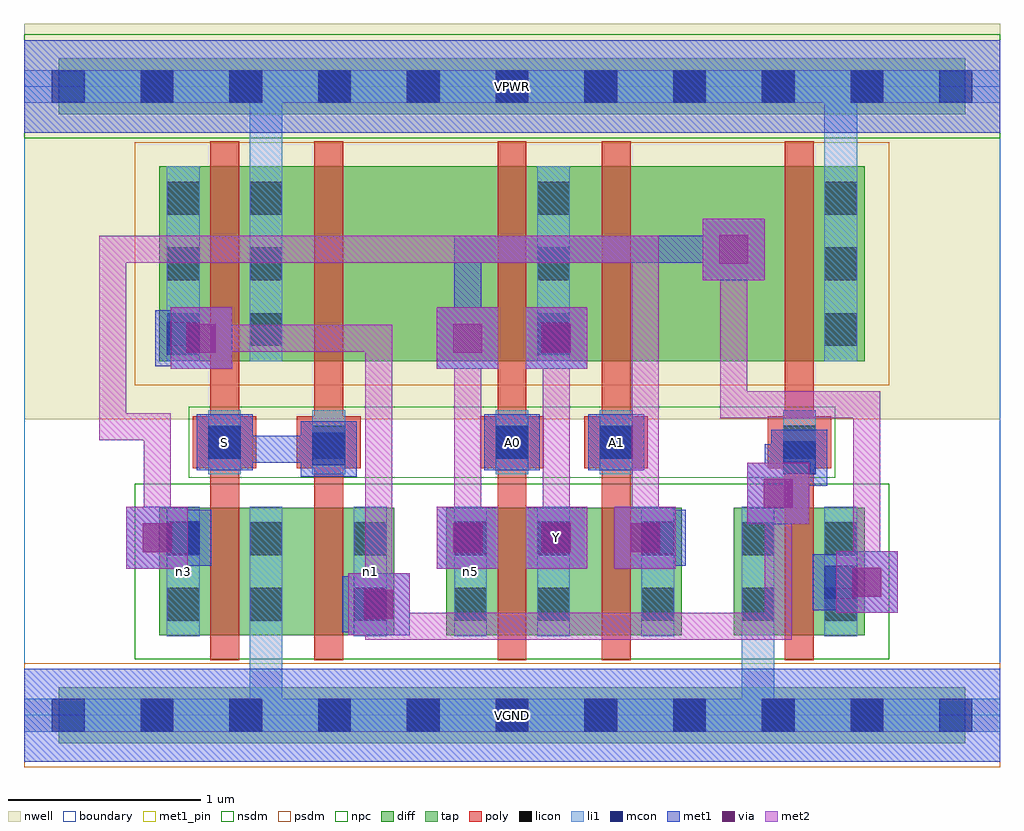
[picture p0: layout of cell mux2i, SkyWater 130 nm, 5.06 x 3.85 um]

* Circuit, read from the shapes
.subckt mux2i A0 A1 S VGND VPWR Y n1 n3 n5
XM1 VGND S n3 VGND sky130_fd_pr__nfet_01v8 w=0.66 l=0.15
XM2 n1 S VGND VGND sky130_fd_pr__nfet_01v8 w=0.66 l=0.15
XM3 Y A0 n5 VGND sky130_fd_pr__nfet_01v8 w=0.66 l=0.15
XM4 n3 A1 Y VGND sky130_fd_pr__nfet_01v8 w=0.66 l=0.15
XM5 n5 n1 VGND VGND sky130_fd_pr__nfet_01v8 w=0.66 l=0.15
XM6 VPWR S n1 VPWR sky130_fd_pr__pfet_01v8 w=1.01 l=0.15
XM7 n2 S VPWR VPWR sky130_fd_pr__pfet_01v8 w=1.01 l=0.15
XM8 Y A0 n2 VPWR sky130_fd_pr__pfet_01v8 w=1.01 l=0.15
XM9 n4 A1 Y VPWR sky130_fd_pr__pfet_01v8 w=1.01 l=0.15
XM10 VPWR n1 n4 VPWR sky130_fd_pr__pfet_01v8 w=1.01 l=0.15
.ends

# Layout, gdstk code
import gdstk
lib = gdstk.Library(unit=1e-6, precision=1e-09)
def R(c, l, rs):  # rectangles x0, y0, x1, y1
    for r in rs: c.add(gdstk.rectangle(r[:2], r[2:], *l))
def A(c, l, x, y, w, h, nx, ny, dx, dy):  # array of equal rectangles
    R(c, l, [(x+i*dx, y+j*dy, x+i*dx+w, y+j*dy+h) for i in range(nx) for j in range(ny)])
nwell = (64, 20)
diff = (65, 20)
tap = (65, 44)
poly = (66, 20)
licon = (66, 44)
li1 = (67, 20)
mcon = (67, 44)
met1_pin = (68, 16)
met1 = (68, 20)
via = (68, 44)
met2 = (69, 20)
nsdm = (93, 44)
psdm = (94, 20)
npc = (95, 20)
boundary = (235, 4)

mux2i = lib.new_cell('mux2i')
R(mux2i, nwell, [(0,1.535,5.06,3.585)])
R(mux2i, diff, [(0.7,0.415,1.92,1.075), (2.19,0.415,3.41,1.075), (3.68,0.415,4.36,1.075), (0.7,1.835,4.36,2.845)])
R(mux2i, tap, [(0.18,-0.145,4.88,0.145), (0.18,3.115,4.88,3.405)])
R(mux2i, poly, [(0.965,0.285,1.115,2.975), (1.505,0.285,1.655,2.975), (2.455,0.285,2.605,2.975), (2.995,0.285,3.145,2.975), (3.945,0.285,4.095,2.975), (0.875,1.28,1.205,1.55), (1.415,1.28,1.745,1.55), (2.365,1.28,2.695,1.55), (2.905,1.28,3.235,1.55), (3.855,1.28,4.185,1.55)])
A(mux2i, licon, 0.605, -0.085, 0.17, 0.17, 9, 2, 0.46, 3.26)
A(mux2i, licon, 0.74, 1.915, 0.17, 0.17, 1, 3, 0, 0.34)
A(mux2i, licon, 1.17, 1.915, 0.17, 0.17, 3, 3, 1.49, 0.34)
R(mux2i, licon, [(0.74,0.49,0.91,0.66), (1.17,0.49,1.34,0.66), (1.71,0.49,1.88,0.66), (2.23,0.49,2.4,0.66), (2.66,0.49,2.83,0.66), (3.2,0.49,3.37,0.66), (3.72,0.49,3.89,0.66), (4.15,0.49,4.32,0.66), (0.74,0.83,0.91,1), (1.17,0.83,1.34,1), (1.71,0.83,1.88,1), (2.23,0.83,2.4,1), (2.66,0.83,2.83,1), (3.2,0.83,3.37,1), (3.72,0.83,3.89,1), (4.15,0.83,4.32,1), (0.955,1.33,1.125,1.5), (1.495,1.33,1.665,1.5), (2.445,1.33,2.615,1.5), (2.985,1.33,3.155,1.5), (3.935,1.33,4.105,1.5)])
A(mux2i, li1, 1.17, 1.835, 0.17, 1.01, 3, 1, 1.49, 0)
R(mux2i, li1, [(0,-0.085,5.06,0.085), (1.17,-0.085,1.34,1.08), (3.72,-0.085,3.89,1.08), (0.74,0.41,0.91,1.08), (1.17,0.41,1.34,1.08), (1.71,0.41,1.88,1.08), (2.23,0.41,2.4,1.08), (2.66,0.41,2.83,1.08), (3.2,0.41,3.37,1.08), (3.72,0.41,3.89,1.08), (4.15,0.41,4.32,1.08), (0.955,1.25,1.125,1.58), (1.495,1.25,1.665,1.58), (2.445,1.25,2.615,1.58), (2.985,1.25,3.155,1.58), (3.935,1.25,4.105,1.58), (0.74,1.835,0.91,2.845), (1.17,1.835,1.34,3.345), (4.15,1.835,4.32,3.345), (0,3.175,5.06,3.345)])
A(mux2i, mcon, 0.145, -0.085, 0.17, 0.17, 11, 2, 0.46, 3.26)
R(mux2i, mcon, [(1.71,0.49,1.88,0.66), (4.15,0.605,4.32,0.775), (0.74,0.835,0.91,1.005), (2.23,0.835,2.4,1.005), (2.66,0.835,2.83,1.005), (3.2,0.835,3.37,1.005), (3.935,1.25,4.105,1.42), (1.495,1.295,1.665,1.465), (0.955,1.33,1.125,1.5), (2.445,1.33,2.615,1.5), (2.985,1.33,3.155,1.5), (0.74,1.87,0.91,2.04), (2.66,1.87,2.83,2.04)])
R(mux2i, met1_pin, [(0,-0.24,5.06,0.24), (2.6,0.76,2.92,1.08), (0.895,1.27,1.185,1.56), (2.385,1.27,2.675,1.56), (2.925,1.27,3.215,1.56), (0,3.02,5.06,3.5)])
A(mux2i, met1, 2.14, 0.76, 0.32, 0.32, 3, 1, 0.46, 0)
R(mux2i, met1, [(0,-0.24,5.06,0.24), (1.68,0.415,2,0.735), (1.65,0.43,1.94,0.72), (1.725,0.505,1.91,0.645), (4.21,0.53,4.53,0.85), (4.09,0.545,4.38,0.835), (4.165,0.62,4.44,0.76), (0.53,0.76,0.85,1.08), (0.68,0.775,0.97,1.065), (2.17,0.775,2.46,1.065), (2.6,0.775,2.89,1.065), (3.14,0.775,3.43,1.065), (0.62,0.85,0.895,0.99), (2.23,0.85,2.385,0.99), (2.675,0.85,2.83,0.99), (3.15,0.85,3.355,0.99), (3.75,0.99,4.07,1.31), (3.84,1.08,3.98,1.405), (3.875,1.19,4.165,1.48), (1.435,1.235,1.725,1.525), (3.84,1.265,4.09,1.405), (0.895,1.27,1.185,1.56), (2.385,1.27,2.675,1.56), (2.925,1.27,3.215,1.56), (0.965,1.31,1.105,1.45), (0.965,1.31,1.45,1.45), (1.31,1.31,1.65,1.45), (0.76,1.795,1.08,2.115), (2.14,1.795,2.46,2.115), (2.6,1.795,2.92,2.115), (0.68,1.81,0.97,2.1), (2.6,1.81,2.89,2.1), (0.755,1.885,0.99,2.025), (2.23,1.885,2.37,2.485), (2.675,1.885,2.83,2.025), (3.52,2.255,3.84,2.575), (2.23,2.345,3.75,2.485), (0,3.02,5.06,3.5)])
A(mux2i, via, 2.225, 0.845, 0.15, 0.15, 3, 1, 0.46, 0)
R(mux2i, via, [(1.765,0.5,1.915,0.65), (4.295,0.615,4.445,0.765), (0.615,0.845,0.765,0.995), (3.835,1.075,3.985,1.225), (0.845,1.88,0.995,2.03), (2.225,1.88,2.375,2.03), (2.685,1.88,2.835,2.03), (3.605,2.34,3.755,2.49)])
A(mux2i, met2, 2.14, 0.76, 0.32, 0.32, 3, 1, 0.46, 0)
R(mux2i, met2, [(1.77,0.39,3.98,0.53), (1.77,0.39,1.91,0.645), (3.84,0.39,3.98,1.22), (1.68,0.415,2,0.735), (1.77,0.505,1.91,2.025), (4.21,0.53,4.53,0.85), (4.3,0.62,4.44,1.68), (0.53,0.76,0.85,1.08), (0.62,0.85,0.76,1.565), (2.23,0.85,2.37,2.025), (2.69,0.85,2.83,2.025), (3.15,0.85,3.29,2.485), (3.75,0.99,4.07,1.31), (0.39,1.425,0.76,1.565), (0.39,1.425,0.53,2.485), (3.61,1.54,3.75,2.485), (3.61,1.54,4.44,1.68), (0.76,1.795,1.08,2.115), (2.14,1.795,2.46,2.115), (2.6,1.795,2.92,2.115), (0.85,1.885,1.91,2.025), (3.52,2.255,3.84,2.575), (0.39,2.345,3.29,2.485)])
R(mux2i, nsdm, [(0.575,0.29,4.485,1.2), (0,2.99,5.06,3.53)])
R(mux2i, psdm, [(0,-0.27,5.06,0.27), (0.575,1.71,4.485,2.97)])
R(mux2i, npc, [(0.855,1.23,4.205,1.6)])
R(mux2i, boundary, [(0,0,5.06,3.26)])
mux2i.add(gdstk.Label('n3', (0.825,0.745), layer=67, texttype=5))
mux2i.add(gdstk.Label('n1', (1.795,0.745), layer=67, texttype=5))
mux2i.add(gdstk.Label('n5', (2.315,0.745), layer=67, texttype=5))
mux2i.add(gdstk.Label('A0', (2.53,1.415), layer=68, texttype=5))
mux2i.add(gdstk.Label('A1', (3.07,1.415), layer=68, texttype=5))
mux2i.add(gdstk.Label('S', (1.04,1.415), layer=68, texttype=5))
mux2i.add(gdstk.Label('Y', (2.76,0.92), layer=68, texttype=5))
mux2i.add(gdstk.Label('VPWR', (2.53,3.26), layer=68, texttype=5))
mux2i.add(gdstk.Label('VGND', (2.53,0), layer=68, texttype=5))
mux2i.add(gdstk.Label('A0', (2.53,1.415), layer=68, texttype=16))
mux2i.add(gdstk.Label('A1', (3.07,1.415), layer=68, texttype=16))
mux2i.add(gdstk.Label('S', (1.04,1.415), layer=68, texttype=16))
mux2i.add(gdstk.Label('Y', (2.76,0.92), layer=68, texttype=16))
mux2i.add(gdstk.Label('VPWR', (2.53,3.26), layer=68, texttype=16))
mux2i.add(gdstk.Label('VGND', (2.53,0), layer=68, texttype=16))

lib.write_gds('mux2i.gds')
